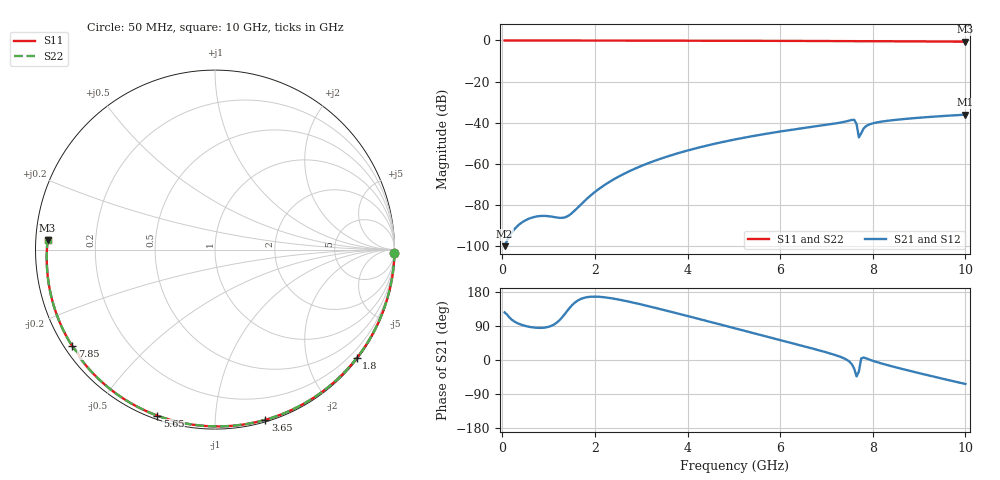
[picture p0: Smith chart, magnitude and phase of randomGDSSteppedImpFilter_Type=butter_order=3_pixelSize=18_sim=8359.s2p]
! freq	dB(S11)	phase(S11)	dB(S12)	phase(S12)
!  dB(S21)	phase(S21)	dB(S22)	phase(S22)
!S-par simulation data
#  GHz  S  DB  R 50
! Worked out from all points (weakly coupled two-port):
!   200 points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, 50 MHz to 10 GHz, reference 50 ohm
!   highest |S21| = -36.11 dB at 10 GHz (marker M1); lowest = -100.1 dB at 50 MHz (marker M2)
!   lowest |S11| = -0.6 dB at 10 GHz (marker M3), VSWR 29.29, Z = 1.71 + j1.39 ohm
!   |S11| at or under -10 dB: nowhere
!   |S22| runs from -0.6 to 0.0 dB; largest |S21 - S12| = 0
!   S11 on the Smith chart (normalised r, x): 50 MHz: open; 1.8 GHz: 0.03, -2.95; 3.65 GHz: 0.02, -1.34; 5.65 GHz: 0.02, -0.71; 7.85 GHz: 0.02, -0.31; 10 GHz: 0.03, +0.03
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0.05  -0.00 -1.1  -100.07 125.6  -100.07 125.6  -0.00 -1.1
0.8  -0.02 -16.8  -85.44 84.7  -85.44 84.7  -0.02 -16.8
1.65  -0.04 -34.4  -80.83 158.3  -80.83 158.3  -0.04 -34.4
1.75  -0.05 -36.4  -78.62 163.5  -78.62 163.5  -0.05 -36.4
1.8  -0.05 -37.4  -77.56 165.1  -77.56 165.1  -0.05 -37.4
2.1  -0.06 -43.5  -72.01 166.7  -72.01 166.7  -0.06 -43.5
2.5  -0.07 -51.4  -66.38 159.8  -66.38 159.8  -0.07 -51.4
2.9  -0.08 -59.2  -62.02 149.4  -62.02 149.4  -0.08 -59.2
3.4  -0.09 -68.8  -57.68 134.7  -57.68 134.7  -0.09 -68.8
3.65  -0.10 -73.5  -55.84 127.0  -55.84 127.0  -0.10 -73.5
5.05  -0.15 -98.8  -48.04 82.8  -48.04 82.8  -0.15 -98.8
5.65  -0.18 -109.2  -45.58 63.8  -45.58 63.8  -0.18 -109.2
6.7  -0.25 -126.9  -41.99 30.2  -41.99 30.2  -0.25 -126.9
7.6  -0.34 -142.2  -38.62 -23.4  -38.62 -23.4  -0.34 -142.2
7.65  -0.39 -142.9  -40.66 -43.3  -40.66 -43.3  -0.39 -142.9
7.7  -0.39 -143.4  -47.16 -30.7  -47.16 -30.7  -0.39 -143.4
7.8  -0.36 -145.0  -42.91 6.5  -42.91 6.5  -0.36 -145.0
7.85  -0.36 -145.9  -41.78 4.6  -41.78 4.6  -0.36 -145.9
8  -0.36 -148.4  -40.32 -2.1  -40.32 -2.1  -0.36 -148.4
8.35  -0.39 -154.4  -38.99 -14.6  -38.99 -14.6  -0.39 -154.4
9.2  -0.49 -168.9  -37.25 -40.5  -37.25 -40.5  -0.49 -168.9
10  -0.59 176.8  -36.11 -63.3  -36.11 -63.3  -0.59 176.8
